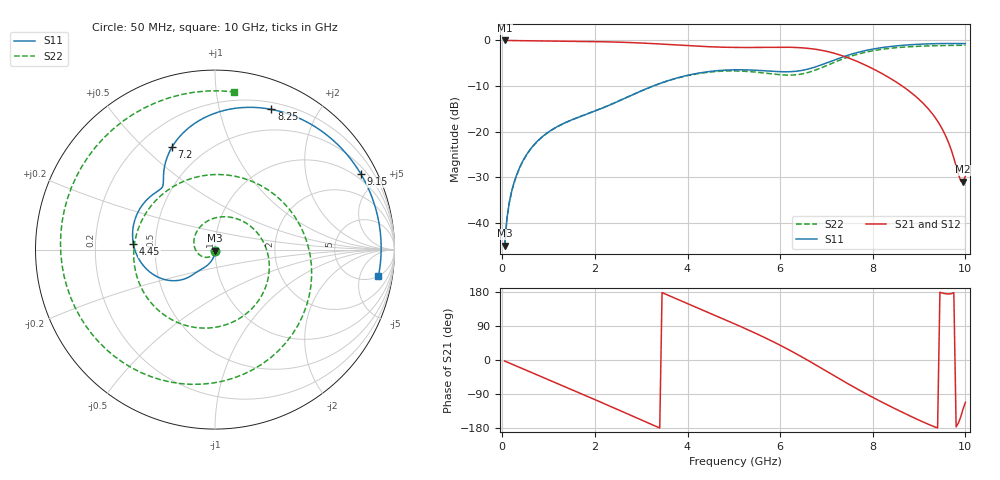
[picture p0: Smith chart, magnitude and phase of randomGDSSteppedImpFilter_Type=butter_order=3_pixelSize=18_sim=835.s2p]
! freq	dB(S11)	phase(S11)	dB(S12)	phase(S12)
!  dB(S21)	phase(S21)	dB(S22)	phase(S22)
!S-par simulation data
#  GHz  S  DB  R 50
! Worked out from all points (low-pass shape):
!   200 points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, 50 MHz to 10 GHz, reference 50 ohm
!   highest |S21| = 0.00 dB at 50 MHz (marker M1); lowest = -30.9 dB at 9.95 GHz (marker M2)
!   |S21| within 3 dB of the highest: start of sweep to 7.234 GHz
!   lowest |S11| = -44.9 dB at 50 MHz (marker M3), VSWR 1.01, Z = 50 - j0.566 ohm
!   |S11| at or under -10 dB: start of sweep to 3.252 GHz
!   |S22| runs from -45.1 to -1.1 dB; largest |S21 - S12| = 0
!   S11 on the Smith chart (normalised r, x): 50 MHz: 1.00, -0.01; 4.45 GHz: 0.37, +0.03; 7.2 GHz: 0.33, +0.61; 8.25 GHz: 0.27, +1.45; 9.15 GHz: 0.77, +3.98; 10 GHz: 5, -10
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0.05  -44.95 -90.2  -0.00 -2.7  -0.00 -2.7  -45.06 -92.8
0.1  -38.99 -91.7  -0.01 -5.3  -0.01 -5.3  -39.07 -96.7
0.2  -33.14 -94.7  -0.02 -10.5  -0.02 -10.5  -33.20 -104.0
0.5  -25.40 -104.3  -0.05 -26.1  -0.05 -26.1  -25.48 -129.1
1.15  -19.09 -119.7  -0.13 -60.0  -0.13 -60.0  -19.12 178.0
1.75  -16.42 -127.9  -0.21 -91.4  -0.21 -91.4  -16.41 123.3
2.65  -12.65 -135.8  -0.42 -139.2  -0.42 -139.2  -12.64 36.0
3.4  -9.43 -151.3  -0.78 -179.5  -0.78 -179.5  -9.46 -28.5
4.45  -6.83 176.1  -1.37 125.2  -1.37 125.2  -6.96 -105.5
5.05  -6.43 156.8  -1.53 93.6  -1.53 93.6  -6.69 -149.0
5.8  -6.74 137.0  -1.49 51.2  -1.49 51.2  -7.30 145.9
6.3  -6.79 129.6  -1.52 19.6  -1.52 19.6  -7.56 88.1
6.7  -6.00 124.9  -1.84 -8.0  -1.84 -8.0  -6.72 35.3
7.2  -4.16 112.8  -2.90 -43.9  -2.90 -43.9  -4.66 -26.1
7.75  -2.43 90.8  -4.98 -82.2  -4.98 -82.2  -2.81 -81.9
8.25  -1.49 68.1  -7.55 -114.4  -7.55 -114.4  -1.88 -125.2
8.35  -1.36 63.5  -8.13 -120.6  -8.13 -120.6  -1.75 -133.4
8.75  -0.98 45.2  -10.82 -144.5  -10.82 -144.5  -1.41 -165.9
9.15  -0.77 27.3  -14.43 -167.0  -14.43 -167.0  -1.21 161.0
9.6  -0.67 7.6  -21.49 174.5  -21.49 174.5  -1.10 121.2
9.95  -0.69 -7.2  -30.92 -129.4  -30.92 -129.4  -1.06 87.9
10  -0.70 -9.3  -29.73 -111.7  -29.73 -111.7  -1.06 83.1
